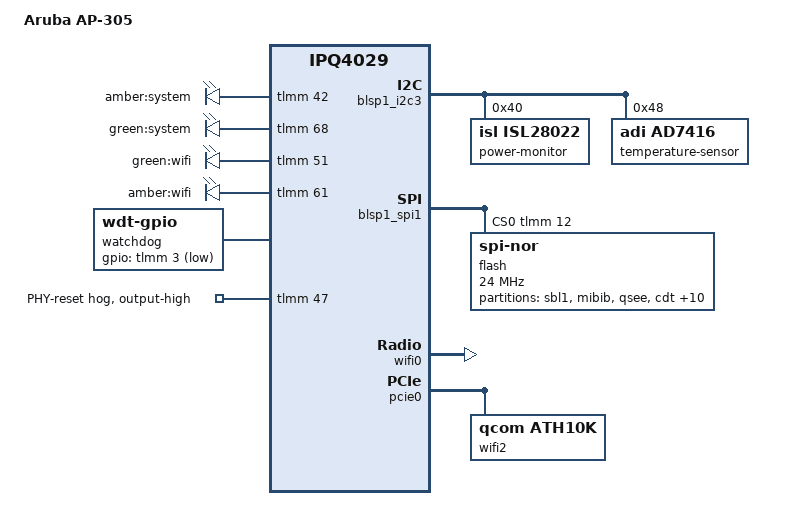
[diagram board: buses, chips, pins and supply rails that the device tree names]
// SPDX-License-Identifier: GPL-2.0-only OR MIT
/*
 * Aruba AP-305 / IAP-305
 *
 * Hardware:
 *  - SoC: Qualcomm IPQ4029 (codename Glenmorangie)
 *  - 2.4 GHz radio: IPQ4019 integrated (AHB wifi0, chip_id 0xb, codename Dakota)
 *  - 5 GHz radio:   Qualcomm QCA9990 / AR900B hw2.0 on PCIe (wifi2 = wifi@1,0,
 *                   chip_id 0x9, devid 168c:0040, codename Beeliner)
 *  - NAND 128 MiB Macronix MX30LF1G18AC
 *  - SPI NOR 4 MiB Macronix MX25R3235F
 *  - 512 MiB RAM
 *
 * Differences vs AP-365:
 *  - AP-365 uses both IPQ4019 integrated radios (wifi0+wifi1, AHB);
 *    AP-305 uses only wifi0 (2.4 GHz) and disables wifi1.
 *  - AP-305 adds an external QCA9990 PCIe radio for 5 GHz.
 *  - Aruba's calibration for the QCA9990 lives in the ART partition at
 *    offset 0x9000 (vs 0x5000 used by the AP-365's second AHB radio).
 *
 * Same SPI NOR partition layout as AP-365 (confirmed by /proc/mtd dump).
 *
 * LED / GPIO map corrected from the ArubaOS Glenmorangie device tree
 * (kernel-extracted-aos-full-31M.itb -> aruba_pin_mux/led = 37,42,51,52,61,68)
 * and verified live on an IAP-305 by toggling GPIOs:
 *   - gpio42 = system LED amber   (active high)   [confirmed]
 *   - gpio68 = system LED green   (active high)   [inferred, verify on boot]
 *   - gpio51 = wifi   LED green   (active high)   [confirmed]
 *   - gpio61 = wifi   LED amber   (active high)   [confirmed]
 * The previous 46/49/61 LEDs were inherited from the AP-365 DTS and are WRONG
 * for the AP-305. gpio42 is NOT a PHY reset (the old hog forced the amber on);
 * the real PHY reset/enable is gpio47 (held high), hogged below.
 */

#include "qcom-ipq4029-aruba-glenmorangie.dtsi"
#include <dt-bindings/gpio/gpio.h>

/ {
	model = "Aruba AP-305";
	compatible = "aruba,ap-305";

	aliases {
		led-boot = &led_system_amber;
		led-failsafe = &led_system_amber;
		led-running = &led_system_green;
		led-upgrade = &led_system_amber;
	};

	leds {
		compatible = "gpio-leds";

		led_system_amber: system-amber {
			label = "amber:system";
			gpios = <&tlmm 42 GPIO_ACTIVE_HIGH>;
		};

		led_system_green: system-green {
			label = "green:system";
			/* INFERRED by elimination from ArubaOS LED pin list;
			 * confirm on first boot (system LED should be green).
			 * gpio68 is in the inherited nand pin group but, like
			 * gpio61, leds-gpio claims it as a plain GPIO. */
			gpios = <&tlmm 68 GPIO_ACTIVE_HIGH>;
		};

		wifi-green {
			label = "green:wifi";
			gpios = <&tlmm 51 GPIO_ACTIVE_HIGH>;
			linux,default-trigger = "phy1tpt";	/* 5 GHz activity */
		};

		wifi-amber {
			label = "amber:wifi";
			gpios = <&tlmm 61 GPIO_ACTIVE_HIGH>;
			linux,default-trigger = "phy0tpt";	/* 2.4 GHz activity */
		};
	};

	watchdog {
		compatible = "linux,wdt-gpio";
		gpios = <&tlmm 3 GPIO_ACTIVE_LOW>;
		hw_algo = "toggle";
		hw_margin_ms = <1000>;
		always-running;
	};
};

&tlmm {
	/*
	 * GPIO map (AP-305 / Glenmorangie), corrected:
	 *   3  - out - watchdog poke (linked above)
	 *   38 - out - PCIe PERST# (declared on &pcie0 below)
	 *   39 - out - "reset watchdog status flipflop" (Aruba) - leave alone
	 *   40 - out - "enable watchdog" (Aruba) - leave alone
	 *   42 - out - system amber LED (was wrongly hogged as phy-reset)
	 *   47 - out - PHY reset/enable (active high, held high) - hogged below
	 *   50 - in  - reset button (declared in glenmorangie.dtsi)
	 *   51 - out - wifi green LED
	 *   61 - out - wifi amber LED
	 *   68 - out - system green LED (inferred)
	 */
	phy-reset {
		line-name = "PHY-reset";
		gpios = <47 GPIO_ACTIVE_HIGH>;
		gpio-hog;
		output-high;
	};
};

&blsp1_i2c3 {
	power-monitor@40 {
		/* No driver */
		compatible = "isl,isl28022";
		reg = <0x40>;
	};

	temperature-sensor@48 {
		compatible = "adi,ad7416";
		reg = <0x48>;
	};
};

&blsp1_spi1 {
	pinctrl-0 = <&spi_0_pins>;
	pinctrl-names = "default";
	status = "okay";
	cs-gpios = <&tlmm 12 GPIO_ACTIVE_HIGH>;

	flash@0 {
		compatible = "jedec,spi-nor";
		reg = <0>;
		spi-max-frequency = <24000000>;

		partitions {
			compatible = "fixed-partitions";
			#address-cells = <1>;
			#size-cells = <1>;

			partition@0 {
				label = "sbl1";
				reg = <0x0 0x40000>;
				read-only;
			};

			partition@40000 {
				label = "mibib";
				reg = <0x40000 0x20000>;
				read-only;
			};

			partition@60000 {
				label = "qsee";
				reg = <0x60000 0x60000>;
				read-only;
			};

			partition@c0000 {
				label = "cdt";
				reg = <0xc0000 0x10000>;
				read-only;
			};

			partition@d0000 {
				label = "ddrparams";
				reg = <0xd0000 0x10000>;
				read-only;
			};

			partition@e0000 {
				label = "u-boot-env";
				reg = <0xe0000 0x10000>;
			};

			partition@f0000 {
				label = "appsbl";
				reg = <0xf0000 0x100000>;
				read-only;
			};

			partition@1f0000 {
				label = "ART";
				reg = <0x1f0000 0x10000>;
				read-only;

				nvmem-layout {
					compatible = "fixed-layout";
					#address-cells = <1>;
					#size-cells = <1>;

					/* 2.4 GHz IPQ4019 AHB radio (wifi0).
					 * Header observed: 20 2F 7F 5B 01 01 ...
					 * len=0x2F20 (12064), crc=0x5B7F (matches Aruba
					 * qc98xx_verify_checksum log).
					 */
					precal_art_1000: precal@1000 {
						reg = <0x1000 0x2f20>;
					};

					/* Dummy cell required by parent DTSI which
					 * references precal_art_5000 from &wifi1.
					 * We disable wifi1 below so this is never read.
					 */
					precal_art_5000: precal@5000 {
						reg = <0x5000 0x2f20>;
					};

					/* 5 GHz QCA9990 PCIe radio (wifi2).
					 * Header observed: 20 2F DC 1C 01 01 ...
					 * len=0x2F20 (12064), crc=0x1CDC (matches Aruba
					 * qc98xx_verify_checksum log).
					 */
					precal_art_9000: precal@9000 {
						reg = <0x9000 0x2f20>;
					};
				};
			};

			partition@200000 {
				label = "osss";
				reg = <0x200000 0x170000>;
				read-only;
			};

			partition@370000 {
				label = "pds";
				reg = <0x370000 0x10000>;
				read-only;
			};

			partition@380000 {
				label = "apcd";
				reg = <0x380000 0x10000>;
				read-only;
			};

			partition@390000 {
				label = "mfginfo";
				reg = <0x390000 0x10000>;
				read-only;

				nvmem-layout {
					compatible = "fixed-layout";
					#address-cells = <1>;
					#size-cells = <1>;

					macaddr_mfginfo_1d: macaddr@1d {
						compatible = "mac-base";
						reg = <0x1d 0x6>;
						#nvmem-cell-cells = <1>;
					};
				};
			};

			partition@3a0000 {
				label = "fcache";
				reg = <0x3a0000 0x10000>;
				read-only;
			};

			partition@3b0000 {
				label = "osss1";
				reg = <0x3b0000 0x50000>;
				read-only;
			};
		};
	};
};

&wifi0 {
	qcom,ath10k-calibration-variant = "Aruba-AP-305";
};

&wifi1 {
	/* AP-305 does not wire the IPQ4019's integrated 5 GHz AHB radio.
	 * 5 GHz is provided by the external QCA9990 PCIe chip (wifi2).
	 */
	status = "disabled";
};

&pcie0 {
	status = "okay";
	perst-gpio = <&tlmm 38 GPIO_ACTIVE_LOW>;
	wake-gpio = <&tlmm 50 GPIO_ACTIVE_LOW>;

	bridge@0,0 {
		reg = <0x00000000 0 0 0 0>;
		#address-cells = <3>;
		#size-cells = <2>;
		ranges;

		wifi2: wifi@1,0 {
			compatible = "qcom,ath10k";
			status = "okay";
			reg = <0x00010000 0 0 0 0>;

			/* QCA9990 / AR900B hw2.0 — 5 GHz.
			 * pre-calibration read from ART @ 0x9000 (12064 bytes).
			 */
			nvmem-cell-names = "pre-calibration", "mac-address";
			nvmem-cells = <&precal_art_9000>, <&macaddr_mfginfo_1d 2>;
			qcom,ath10k-calibration-variant = "Aruba-AP-305";
		};
	};
};
